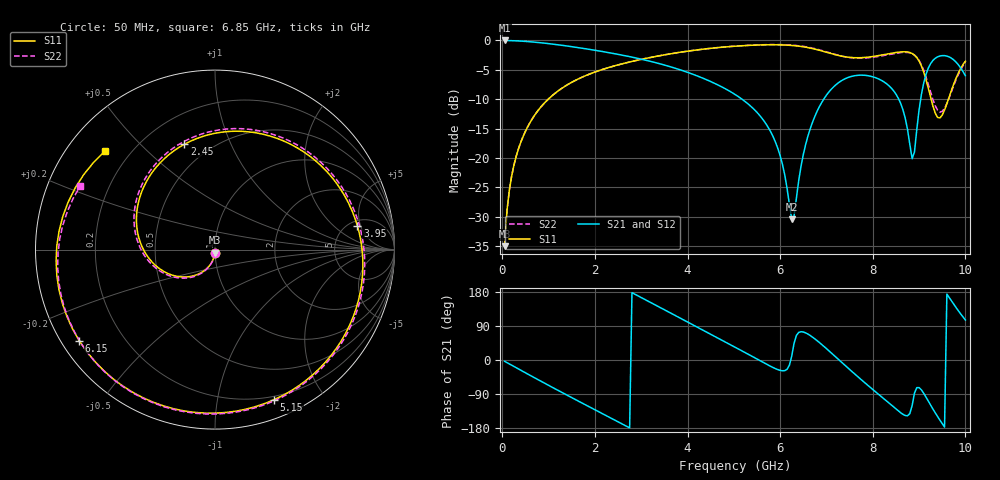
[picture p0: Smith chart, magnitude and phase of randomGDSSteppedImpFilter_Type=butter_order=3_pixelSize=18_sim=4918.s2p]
! freq	dB(S11)	phase(S11)	dB(S12)	phase(S12)
!  dB(S21)	phase(S21)	dB(S22)	phase(S22)
!S-par simulation data
#  GHz  S  DB  R 50
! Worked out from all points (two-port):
!   200 points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, 50 MHz to 10 GHz, reference 50 ohm
!   highest |S21| = -0.02 dB at 50 MHz (marker M1); lowest = -30.4 dB at 6.25 GHz (marker M2)
!   |S21| within 3 dB of the highest: start of sweep to 2.899 GHz; 9.355 GHz to 9.696 GHz (341 MHz wide, 3.58 % of centre)
!   lowest |S11| = -35.0 dB at 50 MHz (marker M3), VSWR 1.04, Z = 50 - j1.78 ohm
!   |S11| at or under -10 dB: start of sweep to 992 MHz; 9.26 GHz to 9.633 GHz (373.2 MHz wide, 3.95 % of centre)
!   |S22| runs from -35.0 to -0.7 dB; largest |S21 - S12| = 0
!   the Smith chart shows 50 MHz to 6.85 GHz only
!   S11 on the Smith chart (normalised r, x): 50 MHz: 1.00, -0.04; 2.45 GHz: 0.37, +0.68; 3.95 GHz: 5.83, +4.40; 5.15 GHz: 0.17, -1.45; 6.15 GHz: 0.05, -0.30; 6.85 GHz: 0.11, +0.38
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0.05  -34.98 -90.2  -0.02 -3.4  -0.02 -3.4  -34.98 -90.1
0.2  -23.15 -103.5  -0.05 -13.6  -0.05 -13.6  -23.14 -103.0
0.5  -15.46 -124.9  -0.18 -33.8  -0.18 -33.8  -15.43 -123.5
1.1  -9.24 -165.6  -0.65 -73.4  -0.65 -73.4  -9.24 -162.6
1.75  -6.16 151.5  -1.37 -115.4  -1.37 -115.4  -6.16 156.3
2.45  -4.28 106.2  -2.30 -160.0  -2.30 -160.0  -4.27 112.5
3.4  -2.60 44.9  -3.97 139.1  -3.97 139.1  -2.61 52.1
3.95  -1.89 9.5  -5.29 103.6  -5.29 103.6  -1.89 16.7
5.05  -0.98 -61.9  -9.31 32.3  -9.31 32.3  -0.97 -54.9
5.15  -0.93 -68.6  -9.85 25.7  -9.85 25.7  -0.92 -61.6
5.65  -0.76 -104.4  -13.68 -7.4  -13.68 -7.4  -0.74 -96.6
6.15  -0.81 -146.1  -25.17 -24.5  -25.17 -24.5  -0.77 -136.3
6.25  -0.86 -155.6  -30.43 10.0  -30.43 10.0  -0.81 -145.1
6.7  -1.40 156.2  -13.89 60.3  -13.89 60.3  -1.32 170.9
6.85  -1.69 138.4  -11.23 45.9  -11.23 45.9  -1.62 154.7
7.5  -2.89 59.0  -6.22 -25.0  -6.22 -25.0  -2.93 80.5
8.35  -2.27 -31.5  -7.72 -113.8  -7.72 -113.8  -2.40 -16.2
8.85  -2.23 -98.6  -20.11 -120.1  -20.11 -120.1  -2.27 -87.9
9.1  -5.40 -155.8  -7.23 -87.8  -7.23 -87.8  -5.11 -143.5
9.3  -11.19 146.7  -3.40 -129.6  -3.40 -129.6  -10.08 170.8
9.55  -11.83 68.3  -2.60 -177.1  -2.60 -177.1  -11.56 112.9
10  -3.55 -5.2  -6.01 105.6  -6.01 105.6  -3.72 22.8
